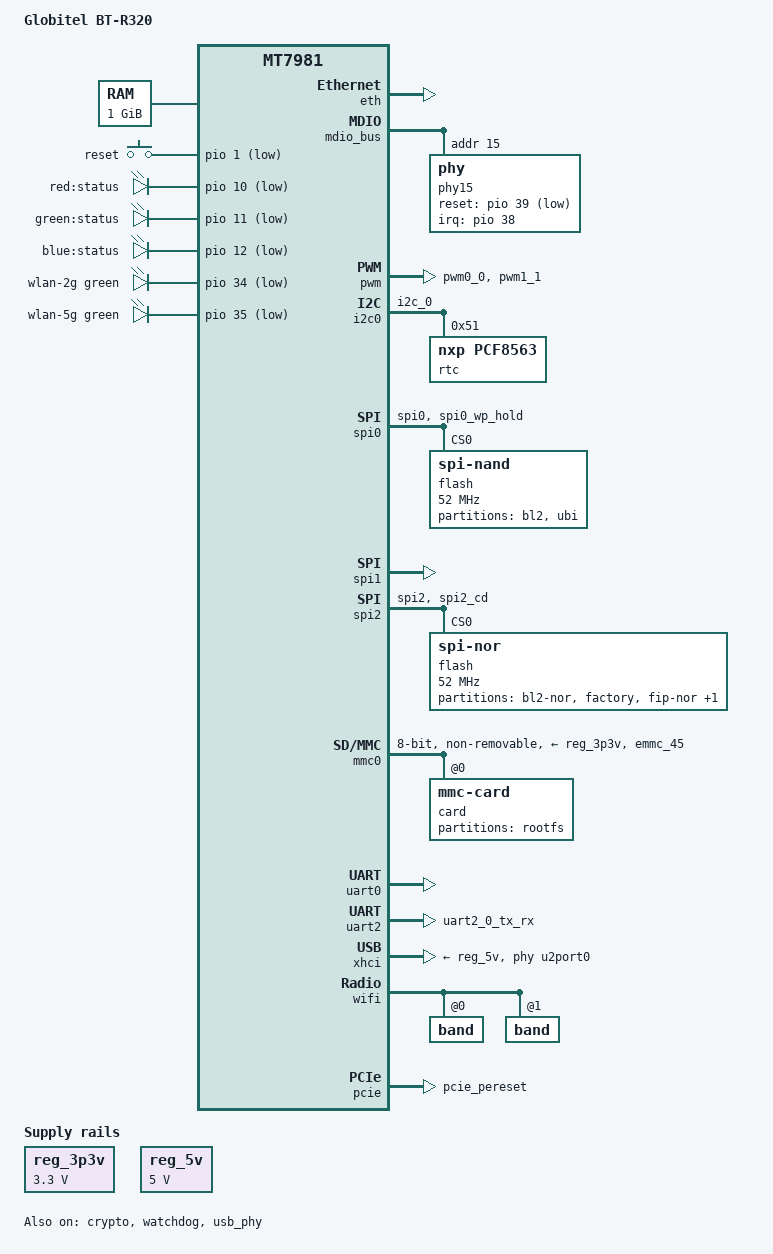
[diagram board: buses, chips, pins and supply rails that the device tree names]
// SPDX-License-Identifier: GPL-2.0-or-later OR MIT

/*
 * Device tree for Globitel BT-R320 (JDC-F3 / OpenWrt One)
 * Based on upstream openwrt,one DTS with eMMC + NVMe modifications
 * for 120G eMMC storage variant.
 *
 * SOC: MediaTek MT7981B (2x Cortex-A53 @ 1.3GHz)
 * RAM: 1GB DDR4
 * Storage: 120GB eMMC + M.2 NVMe
 * WiFi: MediaTek MT7976C (Wi-Fi 6 DBDC)
 * Ethernet: 1x 2.5GbE (WAN via Airoha EN8811H) + 5x 1GbE via MT7531 switch
 */

/dts-v1/;
#include <dt-bindings/gpio/gpio.h>
#include <dt-bindings/input/input.h>
#include <dt-bindings/leds/common.h>

#include "mt7981.dtsi"

/ {
	model = "Globitel BT-R320";
	compatible = "globitel,bt-r320", "openwrt,one", "mediatek,mt7981";

	aliases {
		ethernet0 = &gmac1;
		label-mac-device = &gmac0;
		led-boot = &led_status_red;
		led-failsafe = &led_status_red;
		led-running = &led_status_green;
		led-upgrade = &led_status_blue;
		serial0 = &uart0;
	};

	chosen {
		stdout-path = "serial0:115200n8";
		rootdisk = <&mmc_rootdisk>;
	};

	memory@40000000 {
		reg = <0 0x40000000 0 0x40000000>;
		device_type = "memory";
	};

	reg_3p3v: regulator-3p3v {
		compatible = "regulator-fixed";
		regulator-name = "fixed-3.3V";
		regulator-min-microvolt = <3300000>;
		regulator-max-microvolt = <3300000>;
		regulator-boot-on;
		regulator-always-on;
	};

	reg_5v: regulator-5v {
		compatible = "regulator-fixed";
		regulator-name = "fixed-5V";
		regulator-min-microvolt = <5000000>;
		regulator-max-microvolt = <5000000>;
		regulator-boot-on;
		regulator-always-on;
	};

	gpio-keys {
		compatible = "gpio-keys";

		reset {
			label = "reset";
			linux,code = <KEY_RESTART>;
			gpios = <&pio 1 GPIO_ACTIVE_LOW>;
		};
	};

	/*
	 * GPIO LEDs for BT-R320 status and WiFi indicators
	 * Combined form white / blue / purple / cyan states.
	 */
	gpio-leds {
		compatible = "gpio-leds";

		led_status_red: led-0 {
			label = "red:status";
			gpios = <&pio 10 GPIO_ACTIVE_LOW>;
		};

		led_status_green: led-1 {
			label = "green:status";
			gpios = <&pio 11 GPIO_ACTIVE_LOW>;
		};

		led_status_blue: led-2 {
			label = "blue:status";
			gpios = <&pio 12 GPIO_ACTIVE_LOW>;
		};

		led-3 {
			label = "wlan-2g";
			function = LED_FUNCTION_WLAN_2GHZ;
			color = <LED_COLOR_ID_GREEN>;
			gpios = <&pio 34 GPIO_ACTIVE_LOW>;
		};

		led-4 {
			label = "wlan-5g";
			function = LED_FUNCTION_WLAN_5GHZ;
			color = <LED_COLOR_ID_GREEN>;
			gpios = <&pio 35 GPIO_ACTIVE_LOW>;
		};
	};
};

/* Ethernet / Switch */
&eth {
	status = "okay";

	gmac0: mac@0 {
		compatible = "mediatek,eth-mac";
		reg = <0>;
		phy-handle = <&phy15>;
		phy-mode = "2500base-x";
		nvmem-cell-names = "mac-address";
		nvmem-cells = <&macaddr_factory_24>;
	};

	gmac1: mac@1 {
		compatible = "mediatek,eth-mac";
		reg = <1>;
		phy-mode = "gmii";
		phy-handle = <&int_gbe_phy>;
	};
};

&mdio_bus {
	phy15: phy@f {
		reg = <0xf>;
		airoha,pnswap-rx;
		interrupt-parent = <&pio>;
		interrupts = <38 IRQ_TYPE_EDGE_FALLING>;
		reset-gpios = <&pio 39 GPIO_ACTIVE_LOW>;
		reset-assert-us = <10000>;
		reset-deassert-us = <20000>;
		phy-mode = "2500base-x";
		full-duplex;
		pause;

		leds {
			#address-cells = <1>;
			#size-cells = <0>;
			led@0 {
				reg = <0>;
				function = LED_FUNCTION_WAN;
				color = <LED_COLOR_ID_AMBER>;
			};
			led@1 {
				reg = <1>;
				function = LED_FUNCTION_WAN;
				color = <LED_COLOR_ID_GREEN>;
			};
		};
	};
};

/* Crypto acceleration */
&crypto {
	status = "okay";
};

/* Pinmux */
&pio {
	spi0_flash_pins: spi0-pins {
		mux {
			function = "spi";
			groups = "spi0", "spi0_wp_hold";
		};
	};

	mmc0_pins_default: mmc0-pins-default {
		mux {
			function = "flash";
			groups = "emmc_45";
		};
	};

	mmc0_pins_uhs: mmc0-pins-uhs {
		mux {
			function = "flash";
			groups = "emmc_45";
		};
	};

	pwm_pins: pwm-pins {
		mux {
			function = "pwm";
			groups = "pwm0_0", "pwm1_1";
		};
	};

	pcie_pins: pcie-pins {
		mux {
			function = "pcie";
			groups = "pcie_pereset";
		};
	};

	i2c_pins: i2c-pins {
		mux {
			function = "i2c";
			groups = "i2c_0";
		};
	};

	spi2_flash_pins: spi2-flash-pins {
		mux {
			function = "flash";
			groups = "spi2", "spi2_cd";
		};
	};

	uart2_pins: uart2-pins {
		mux {
			function = "uart";
			groups = "uart2_0_tx_rx";
		};
	};
};

/* PWM for status LED */
&pwm {
	pinctrl-names = "default";
	pinctrl-0 = <&pwm_pins>;
	status = "okay";
};

/* I2C for RTC */
&i2c0 {
	pinctrl-names = "default";
	pinctrl-0 = <&i2c_pins>;
	status = "okay";

	rtc@51 {
		compatible = "nxp,pcf8563";
		reg = <0x51>;
	};
};

/* SPI NAND (stock bootloader/FIP area) */
&spi0 {
	pinctrl-names = "default";
	pinctrl-0 = <&spi0_flash_pins>;
	#address-cells = <1>;
	#size-cells = <0>;
	status = "okay";

	flash@0 {
		compatible = "spi-nand";
		reg = <0>;
		spi-max-frequency = <52000000>;
		spi-cal-enable;
		spi-cal-mode = "read-data";
		spi-cal-datalen = <7>;
		spi-cal-data = /bits/ 8 <0x53 0x50 0x49 0x4E 0x41 0x4E 0x44>;
		spi-cal-addrlen = <5>;
		spi-cal-addr = /bits/ 32 <0x0 0x0 0x0 0x0 0x0>;

		partitions {
			compatible = "fixed-partitions";
			#address-cells = <1>;
			#size-cells = <1>;

			partition@0 {
				label = "bl2";
				reg = <0x0 0x100000>;
				read-only;
			};

			partition@580000 {
				label = "ubi";
				reg = <0x100000 0xFF00000>;
				compatible = "linux,ubi";
				volumes {
					ubi_fit_volume: ubi-volume-fit {
						volname = "fit";
					};
				};
			};
		};
	};
};

/* SPI1 unused (available for mods) */
&spi1 {
	pinctrl-names = "default";
	status = "okay";
};

/* SPI NOR (recovery / fallback) */
&spi2 {
	pinctrl-names = "default";
	pinctrl-0 = <&spi2_flash_pins>;
	#address-cells = <1>;
	#size-cells = <0>;
	status = "okay";

	flash@0 {
		compatible = "jedec,spi-nor";
		reg = <0>;
		spi-max-frequency = <52000000>;

		partitions {
			compatible = "fixed-partitions";
			#address-cells = <1>;
			#size-cells = <1>;

			partition@0 {
				label = "bl2-nor";
				reg = <0x00000 0x40000>;
			};
			partition@40000 {
				label = "factory";
				reg = <0x40000 0xc0000>;
				read-only;

				nvmem-layout {
					compatible = "fixed-layout";
					#address-cells = <1>;
					#size-cells = <1>;

					eeprom_factory_0: eeprom@0 {
						reg = <0x0 0x1000>;
					};
					macaddr_factory_4: macaddr@4 {
						reg = <0x4 0x6>;
						compatible = "mac-base";
						#nvmem-cell-cells = <1>;
					};
					macaddr_factory_24: macaddr@24 {
						reg = <0x24 0x6>;
						compatible = "mac-base";
					};
				};
			};
			partition@100000 {
				label = "fip-nor";
				reg = <0x100000 0x80000>;
			};
			partition@180000 {
				label = "recovery";
				reg = <0x180000 0xc80000>;
			};
		};
	};
};

/*
 * eMMC storage layout for BT-R320 primary storage (120GB)
 * GPT partition layout (from user's fdisk output):
 *   p1: u-boot-env  512K  @ 8192
 *   p2: factory      2M   @ 9216
 *   p3: fip          2M   @ 13312
 *   p4: kernel      32M   @ 17408
 *   p5: rootfs       1G   @ 82944
 *   p6: data      109.3G  @ 2180096
 *   p7: swap       6.7G   @ 231294976
 */
&mmc0 {
	bus-width = <8>;
	cap-mmc-highspeed;
	max-frequency = <52000000>;
	no-sd;
	no-sdio;
	non-removable;
	pinctrl-names = "default", "state_uhs";
	pinctrl-0 = <&mmc0_pins_default>;
	pinctrl-1 = <&mmc0_pins_uhs>;
	vmmc-supply = <&reg_3p3v>;
	status = "okay";

	card@0 {
		compatible = "mmc-card";
		reg = <0>;

		block {
			compatible = "block-device";

			partitions {
				compatible = "partitions";
				#address-cells = <1>;
				#size-cells = <1>;

				mmc_rootdisk: partition@5 {
					label = "rootfs";
					reg = <5>;
				};
			};
		};
	};
};

/* UART */
&uart0 {
	status = "okay";
};

&uart2 {
	pinctrl-names = "default";
	pinctrl-0 = <&uart2_pins>;
	status = "okay";
};

/* Watchdog */
&watchdog {
	status = "okay";
};

/* USB */
&usb_phy {
	status = "okay";
};

&xhci {
	phys = <&u2port0 PHY_TYPE_USB2>;
	vusb33-supply = <&reg_3p3v>;
	vbus-supply = <&reg_5v>;
	mediatek,u3p-dis-msk = <0x01>;
	status = "okay";
};

/* WiFi */
&wifi {
	#address-cells = <1>;
	#size-cells = <0>;
	nvmem-cells = <&eeprom_factory_0>;
	nvmem-cell-names = "eeprom";
	status = "okay";

	band@0 {
		reg = <0>;
		nvmem-cells = <&macaddr_factory_4 0>;
		nvmem-cell-names = "mac-address";
	};

	band@1 {
		reg = <1>;
		nvmem-cells = <&macaddr_factory_4 7>;
		nvmem-cell-names = "mac-address";
	};
};

/* PCIe for M.2 NVMe */
&pcie {
	pinctrl-names = "default";
	pinctrl-0 = <&pcie_pins>;
	status = "okay";
};

&sgmiisys0 {
	/delete-node/ mediatek,pnswap;
};
